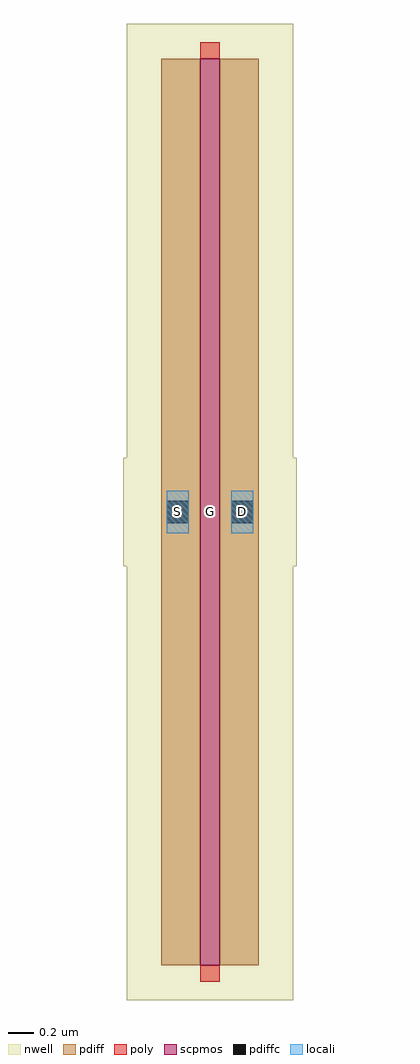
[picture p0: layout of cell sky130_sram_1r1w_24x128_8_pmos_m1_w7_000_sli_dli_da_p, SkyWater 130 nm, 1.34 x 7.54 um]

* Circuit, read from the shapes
.subckt sky130_sram_1r1w_24x128_8_pmos_m1_w7_000_sli_dli_da_p G S D
XM1 D G S n1 sky130_fd_pr__pfet_01v8 w=7 l=0.15
.ends

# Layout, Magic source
magic
tech sky130B
magscale 1 2
<< nwell >>
rect -54 -54 204 1454
<< scpmos >>
rect 60 0 90 1400
<< pdiff >>
rect 0 0 60 1400
rect 90 0 150 1400
<< poly >>
rect 60 1400 90 1426
rect 60 -26 90 0
<< locali >>
rect 8 667 42 733
rect 108 667 142 733
use sky130_sram_1r1w_24x128_8_contact_11  sky130_sram_1r1w_24x128_8_contact_11_0
transform 1 0 100 0 1 667
box -59 -51 109 117
use sky130_sram_1r1w_24x128_8_contact_11  sky130_sram_1r1w_24x128_8_contact_11_1
transform 1 0 0 0 1 667
box -59 -51 109 117
<< labels >>
rlabel poly s 75 700 75 700 4 G
port 1 nsew
rlabel locali s 25 700 25 700 4 S
port 2 nsew
rlabel locali s 125 700 125 700 4 D
port 3 nsew
<< properties >>
string FIXED_BBOX -54 -54 204 1454
<< end >>

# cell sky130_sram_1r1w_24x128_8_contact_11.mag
magic
tech sky130B
magscale 1 2
<< nwell >>
rect -59 -51 109 117
<< pdiff >>
rect 0 50 50 62
rect 0 16 8 50
rect 42 16 50 50
rect 0 4 50 16
<< pdiffc >>
rect 8 16 42 50
<< locali >>
rect 8 50 42 66
rect 8 0 42 16
<< properties >>
string FIXED_BBOX -59 -51 109 117
<< end >>
